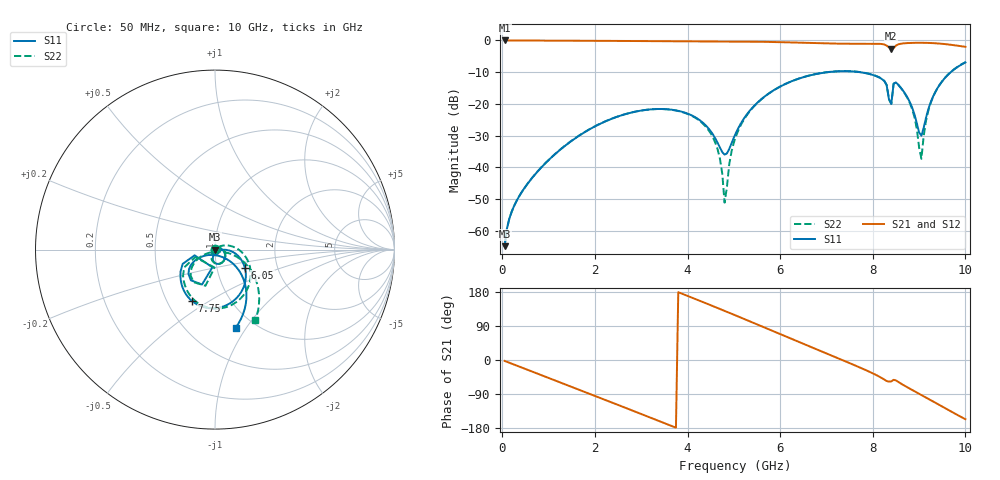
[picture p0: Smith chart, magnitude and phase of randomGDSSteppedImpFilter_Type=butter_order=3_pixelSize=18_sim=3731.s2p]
! freq	dB(S11)	phase(S11)	dB(S12)	phase(S12)
!  dB(S21)	phase(S21)	dB(S22)	phase(S22)
!S-par simulation data
#  GHz  S  DB  R 50
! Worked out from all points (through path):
!   200 points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, 50 MHz to 10 GHz, reference 50 ohm
!   highest |S21| = 0.00 dB at 50 MHz (marker M1); lowest = -2.6 dB at 8.4 GHz (marker M2)
!   group delay of S21, straight-line fit = 140 ps
!   lowest |S11| = -64.9 dB at 50 MHz (marker M3), VSWR 1.00, Z = 50 + j0.0552 ohm
!   |S11| at or under -10 dB: start of sweep to 7.032 GHz; 7.718 GHz to 9.685 GHz (1.966 GHz wide, 22.6 % of centre)
!   |S22| runs from -64.8 to -6.9 dB; largest |S21 - S12| = 0
!   S11 on the Smith chart (normalised r, x): 50 MHz: 1.00, +0.00; 6.05 GHz: 1.36, -0.29; 7.75 GHz: 0.67, -0.42; 10 GHz: 0.82, -0.90
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0.05  -64.89 75.9  -0.00 -2.4  -0.00 -2.4  -64.80 75.9
0.2  -54.11 70.6  -0.02 -9.5  -0.02 -9.5  -54.14 72.2
0.5  -46.11 62.0  -0.03 -23.7  -0.03 -23.7  -46.09 66.1
1.75  -29.20 7.7  -0.10 -82.9  -0.10 -82.9  -29.14 12.7
2.5  -23.97 -27.7  -0.15 -118.6  -0.15 -118.6  -23.94 -24.3
3.4  -21.62 -69.1  -0.23 -161.7  -0.23 -161.7  -21.63 -68.6
4.45  -27.70 -105.9  -0.28 147.1  -0.28 147.1  -28.21 -121.6
4.7  -33.82 -89.5  -0.30 134.7  -0.30 134.7  -37.33 -138.8
4.8  -36.01 -59.5  -0.30 129.7  -0.30 129.7  -51.17 168.4
5.05  -29.02 -3.6  -0.32 117.0  -0.32 117.0  -30.04 34.0
6.05  -14.18 -31.5  -0.56 65.8  -0.56 65.8  -14.17 -19.5
6.7  -10.83 -62.4  -0.82 32.5  -0.82 32.5  -10.80 -52.6
7.75  -10.06 -114.0  -1.05 -21.3  -1.05 -21.3  -10.02 -105.9
8.25  -12.83 -147.4  -1.28 -51.8  -1.28 -51.8  -12.75 -140.6
8.35  -18.56 -164.4  -2.18 -57.1  -2.18 -57.1  -18.58 -159.1
8.4  -20.04 -98.4  -2.62 -56.4  -2.62 -56.4  -19.99 -91.3
8.5  -13.25 -128.1  -1.62 -53.8  -1.62 -53.8  -13.27 -123.0
8.75  -18.02 -151.6  -0.83 -72.3  -0.83 -72.3  -18.23 -149.6
9.05  -30.04 -87.1  -0.74 -92.3  -0.74 -92.3  -37.37 -61.6
9.15  -24.33 -44.3  -0.76 -99.1  -0.76 -99.1  -25.30 -14.9
9.3  -17.76 -38.0  -0.84 -109.3  -0.84 -109.3  -17.88 -18.2
10  -6.93 -75.1  -2.02 -156.3  -2.02 -156.3  -6.86 -60.4
